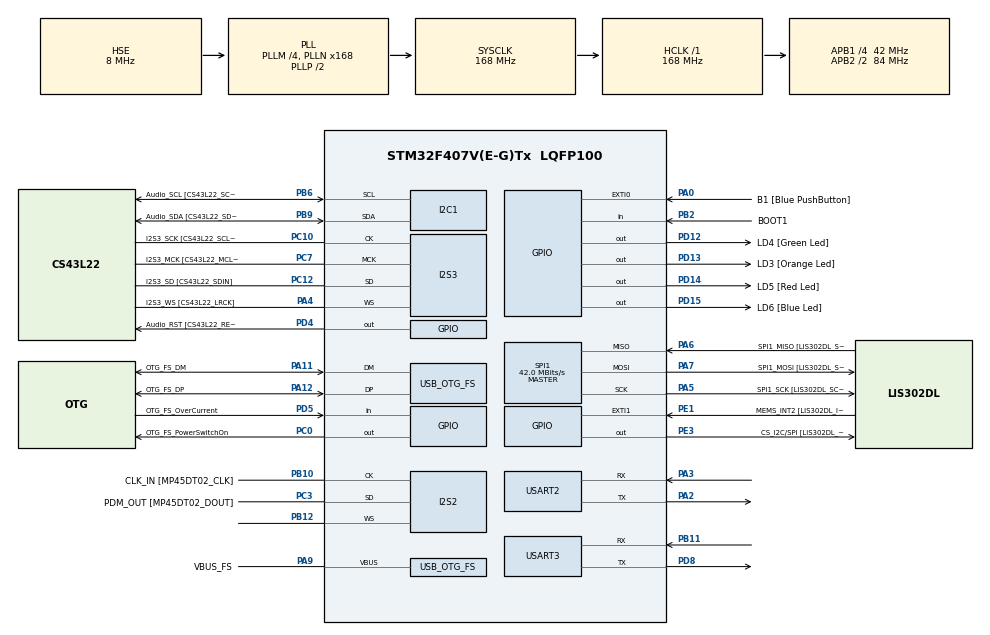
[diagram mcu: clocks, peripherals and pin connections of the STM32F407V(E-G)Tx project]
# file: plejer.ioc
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FREERTOS.Tasks01=defaultTask,0,128,StartDefaultTask,Default,NULL
I2S2.AudioFreq=I2S_AUDIOFREQ_44K
I2S2.ErrorAudioFreq=0.26 %
I2S2.FullDuplexMode=I2S_FULLDUPLEXMODE_DISABLE
I2S2.Instance=SPI$Index
I2S2.RealAudioFreq=44.117 KHz
I2S2.VirtualMode=I2S_MODE_MASTER
I2S3.AudioFreq=I2S_AUDIOFREQ_44K
I2S3.ErrorAudioFreq=0.26 %
I2S3.FullDuplexMode=I2S_FULLDUPLEXMODE_DISABLE
I2S3.Instance=SPI$Index
I2S3.RealAudioFreq=44.117 KHz
I2S3.VirtualMode=I2S_MODE_MASTER
Mcu.Family=STM32F4
Mcu.Name=STM32F407V(E-G)Tx
Mcu.Package=LQFP100
NVIC.OTG_FS_IRQn=true\:5\:0\:false\:false\:true\:true\:true
NVIC.PriorityGroup=NVIC_PRIORITYGROUP_4
NVIC.SPI2_IRQn=true\:5\:0\:false\:false\:true\:true\:true
NVIC.SPI3_IRQn=true\:5\:0\:false\:false\:true\:true\:true
NVIC.TIM1_TRG_COM_TIM11_IRQn=true\:0\:0\:false\:false\:true\:false\:true
NVIC.TimeBase=TIM1_TRG_COM_TIM11_IRQn
NVIC.TimeBaseIP=TIM11
PA0-WKUP.GPIO_Label=B1 [Blue PushButton]
PA0-WKUP.GPIO_ModeDefaultEXTI=GPIO_MODE_EVT_RISING
PA0-WKUP.GPIO_PuPd=GPIO_NOPULL
PA0-WKUP.Signal=GPXTI0
PA10.GPIO_Label=OTG_FS_ID
PA10.GPIO_Mode=GPIO_MODE_AF_PP
PA10.GPIO_PuPd=GPIO_NOPULL
PA10.GPIO_Speed=GPIO_SPEED_FREQ_LOW
PA10.Signal=USB_OTG_FS_ID
PA11.GPIO_Label=OTG_FS_DM
PA11.GPIO_Mode=GPIO_MODE_AF_PP
PA11.GPIO_PuPd=GPIO_NOPULL
PA11.GPIO_Speed=GPIO_SPEED_FREQ_LOW
PA11.Mode=Host_Only
PA11.Signal=USB_OTG_FS_DM
PA12.GPIO_Label=OTG_FS_DP
PA12.GPIO_Mode=GPIO_MODE_AF_PP
PA12.GPIO_PuPd=GPIO_NOPULL
PA12.GPIO_Speed=GPIO_SPEED_FREQ_LOW
PA12.Mode=Host_Only
PA12.Signal=USB_OTG_FS_DP
PA13.GPIO_Label=SWDIO
PA13.Mode=Serial_Wire
PA13.Signal=SYS_JTMS-SWDIO
PA14.GPIO_Label=SWCLK
PA14.Mode=Serial_Wire
PA14.Signal=SYS_JTCK-SWCLK
PA2.Mode=Asynchronous
PA2.Signal=USART2_TX
PA3.Mode=Asynchronous
PA3.Signal=USART2_RX
PA4.GPIO_Label=I2S3_WS [CS43L22_LRCK]
PA4.GPIO_Mode=GPIO_MODE_AF_PP
PA4.GPIO_PuPd=GPIO_NOPULL
PA4.GPIO_Speed=GPIO_SPEED_FREQ_LOW
PA4.Mode=Half_Duplex_Master
PA4.Signal=I2S3_WS
PA5.GPIO_Label=SPI1_SCK [LIS302DL_SCL/SPC]
PA5.GPIO_Mode=GPIO_MODE_AF_PP
PA5.GPIO_PuPd=GPIO_NOPULL
PA5.GPIO_Speed=GPIO_SPEED_FREQ_LOW
PA5.Mode=Full_Duplex_Master
PA5.Signal=SPI1_SCK
PA6.GPIO_Label=SPI1_MISO [LIS302DL_SDO]
PA6.GPIO_Mode=GPIO_MODE_AF_PP
PA6.GPIO_PuPd=GPIO_NOPULL
PA6.GPIO_Speed=GPIO_SPEED_FREQ_LOW
PA6.Mode=Full_Duplex_Master
PA6.Signal=SPI1_MISO
PA7.GPIO_Label=SPI1_MOSI [LIS302DL_SDA/SDI/SDO]
PA7.GPIO_Mode=GPIO_MODE_AF_PP
PA7.GPIO_PuPd=GPIO_NOPULL
PA7.GPIO_Speed=GPIO_SPEED_FREQ_LOW
PA7.Mode=Full_Duplex_Master
PA7.Signal=SPI1_MOSI
PA9.GPIO_Label=VBUS_FS
PA9.GPIO_Mode=GPIO_MODE_INPUT
PA9.GPIO_PuPd=GPIO_NOPULL
PA9.Mode=Activate_VBUS
PA9.Signal=USB_OTG_FS_VBUS
PB10.GPIO_Label=CLK_IN [MP45DT02_CLK]
PB10.GPIO_Mode=GPIO_MODE_AF_PP
PB10.GPIO_PuPd=GPIO_NOPULL
PB10.GPIO_Speed=GPIO_SPEED_FREQ_LOW
PB10.Mode=Half_Duplex_Master
PB10.Signal=I2S2_CK
PB11.Mode=Asynchronous
PB11.Signal=USART3_RX
PB12.Mode=Half_Duplex_Master
PB12.Signal=I2S2_WS
PB2.GPIO_Label=BOOT1
PB2.GPIO_Mode=GPIO_MODE_INPUT
PB2.GPIO_PuPd=GPIO_NOPULL
PB2.Signal=GPIO_Input
PB3.GPIO_Label=SWO
PB3.Signal=SYS_JTDO-SWO
PB6.GPIO_Label=Audio_SCL [CS43L22_SCL]
PB6.GPIO_Mode=GPIO_MODE_AF_OD
PB6.GPIO_PuPd=GPIO_NOPULL
PB6.GPIO_Speed=GPIO_SPEED_FREQ_LOW
PB6.Mode=I2C
PB6.Signal=I2C1_SCL
PB9.GPIO_Label=Audio_SDA [CS43L22_SDA]
PB9.GPIO_Mode=GPIO_MODE_AF_OD
PB9.GPIO_PuPd=GPIO_NOPULL
PB9.GPIO_Speed=GPIO_SPEED_FREQ_LOW
PB9.Mode=I2C
PB9.Signal=I2C1_SDA
PC0.GPIO_Label=OTG_FS_PowerSwitchOn
PC0.GPIO_PuPd=GPIO_NOPULL
PC0.GPIO_Speed=GPIO_SPEED_FREQ_LOW
PC0.PinState=GPIO_PIN_SET
PC0.Signal=GPIO_Output
PC10.GPIO_Label=I2S3_SCK [CS43L22_SCLK]
PC10.GPIO_Mode=GPIO_MODE_AF_PP
PC10.GPIO_PuPd=GPIO_NOPULL
PC10.GPIO_Speed=GPIO_SPEED_FREQ_LOW
PC10.Mode=Half_Duplex_Master
PC10.Signal=I2S3_CK
PC12.GPIO_Label=I2S3_SD [CS43L22_SDIN]
PC12.GPIO_Mode=GPIO_MODE_AF_PP
PC12.GPIO_PuPd=GPIO_NOPULL
PC12.GPIO_Speed=GPIO_SPEED_FREQ_LOW
PC12.Mode=Half_Duplex_Master
PC12.Signal=I2S3_SD
PC14-OSC32_IN.GPIO_Label=PC14-OSC32_IN
PC14-OSC32_IN.Signal=RCC_OSC32_IN
PC15-OSC32_OUT.GPIO_Label=PC15-OSC32_OUT
PC15-OSC32_OUT.Signal=RCC_OSC32_OUT
PC3.GPIO_Label=PDM_OUT [MP45DT02_DOUT]
PC3.GPIO_Mode=GPIO_MODE_AF_PP
PC3.GPIO_PuPd=GPIO_NOPULL
PC3.GPIO_Speed=GPIO_SPEED_FREQ_LOW
PC3.Mode=Half_Duplex_Master
PC3.Signal=I2S2_SD
PC7.GPIO_Label=I2S3_MCK [CS43L22_MCLK]
PC7.GPIO_Mode=GPIO_MODE_AF_PP
PC7.GPIO_PuPd=GPIO_NOPULL
PC7.GPIO_Speed=GPIO_SPEED_FREQ_LOW
PC7.Mode=Master_Clock_Activated
PC7.Signal=I2S3_MCK
PD12.GPIO_Label=LD4 [Green Led]
PD12.GPIO_PuPd=GPIO_NOPULL
PD12.GPIO_Speed=GPIO_SPEED_FREQ_LOW
PD12.Signal=GPIO_Output
PD13.GPIO_Label=LD3 [Orange Led]
PD13.GPIO_PuPd=GPIO_NOPULL
PD13.GPIO_Speed=GPIO_SPEED_FREQ_LOW
PD13.Signal=GPIO_Output
PD14.GPIO_Label=LD5 [Red Led]
PD14.GPIO_PuPd=GPIO_NOPULL
PD14.GPIO_Speed=GPIO_SPEED_FREQ_LOW
PD14.Signal=GPIO_Output
PD15.GPIO_Label=LD6 [Blue Led]
PD15.GPIO_PuPd=GPIO_NOPULL
PD15.GPIO_Speed=GPIO_SPEED_FREQ_LOW
PD15.Signal=GPIO_Output
PD4.GPIO_Label=Audio_RST [CS43L22_RESET]
PD4.GPIO_PuPd=GPIO_NOPULL
PD4.GPIO_Speed=GPIO_SPEED_FREQ_LOW
PD4.Signal=GPIO_Output
PD5.GPIO_Label=OTG_FS_OverCurrent
PD5.GPIO_Mode=GPIO_MODE_INPUT
PD5.GPIO_PuPd=GPIO_NOPULL
PD5.Signal=GPIO_Input
PD8.Mode=Asynchronous
PD8.Signal=USART3_TX
PE1.GPIO_Label=MEMS_INT2 [LIS302DL_INT2]
PE1.GPIO_ModeDefaultEXTI=GPIO_MODE_EVT_RISING
PE1.GPIO_PuPd=GPIO_NOPULL
PE1.Signal=GPXTI1
PE3.GPIO_Label=CS_I2C/SPI [LIS302DL_CS_I2C/SPI]
PE3.GPIO_PuPd=GPIO_NOPULL
PE3.GPIO_Speed=GPIO_SPEED_FREQ_LOW
PE3.Signal=GPIO_Output
PH0-OSC_IN.GPIO_Label=PH0-OSC_IN
PH0-OSC_IN.Mode=HSE-External-Oscillator
PH0-OSC_IN.Signal=RCC_OSC_IN
PH1-OSC_OUT.GPIO_Label=PH1-OSC_OUT
PH1-OSC_OUT.Mode=HSE-External-Oscillator
PH1-OSC_OUT.Signal=RCC_OSC_OUT
ProjectManager.HeapSize=0x200
ProjectManager.StackSize=0x400
ProjectManager.TargetToolchain=Makefile
RCC.48MHZClocksFreq_Value=48000000
RCC.AHBFreq_Value=168000000
RCC.APB1CLKDivider=RCC_HCLK_DIV4
RCC.APB1Freq_Value=42000000
RCC.APB1TimFreq_Value=84000000
RCC.APB2CLKDivider=RCC_HCLK_DIV2
RCC.APB2Freq_Value=84000000
RCC.APB2TimFreq_Value=168000000
RCC.CortexFreq_Value=168000000
RCC.HCLKFreq_Value=168000000
RCC.HSE_VALUE=8000000
RCC.HSI_VALUE=16000000
RCC.LSE_VALUE=32768
RCC.PLLM=4
RCC.PLLN=168
RCC.PLLQ=7
RCC.SYSCLKFreq_VALUE=168000000
RCC.SYSCLKSource=RCC_SYSCLKSOURCE_PLLCLK
RCC.VCOOutputFreq_Value=336000000
SPI1.CalculateBaudRate=42.0 MBits/s
SPI1.Direction=SPI_DIRECTION_2LINES
SPI1.Mode=SPI_MODE_MASTER
SPI1.VirtualType=VM_MASTER
USART2.VirtualMode=VM_ASYNC
USART3.VirtualMode=VM_ASYNC
USB_HOST.USBH_HandleTypeDef-MSC_FS=hUsbHostFS
USB_HOST.VirtualModeFS=Msc
USB_OTG_FS.VirtualMode=Host_Only
USB_OTG_FS.phy_itface=HCD_PHY_EMBEDDED
VP_FATFS_VS_USB.Mode=USB
VP_FREERTOS_VS_ENABLE.Mode=Enabled
VP_RNG_VS_RNG.Mode=RNG_Activate
VP_SYS_VS_tim11.Mode=TIM11
VP_USB_HOST_VS_USB_HOST_MSC_FS.Mode=MSC_FS
board=STM32F4DISCOVERY

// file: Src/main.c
/**
  ******************************************************************************
  * File Name          : main.c
  * Description        : Main program body
  ******************************************************************************
  * This notice applies to any and all portions of this file
  * that are not between comment pairs USER CODE BEGIN and
  * USER CODE END. Other portions of this file, whether
  * inserted by the user or by software development tools
  * are owned by their respective copyright owners.
  *
  * Copyright (c) 2017 STMicroelectronics International N.V.
  * All rights reserved.
  *
  * Redistribution and use in source and binary forms, with or without
  * modification, are permitted, provided that the following conditions are met:
  *
  * 1. Redistribution of source code must retain the above copyright notice,
  *    this list of conditions and the following disclaimer.
  * 2. Redistributions in binary form must reproduce the above copyright notice,
  *    this list of conditions and the following disclaimer in the documentation
  *    and/or other materials provided with the distribution.
  * 3. Neither the name of STMicroelectronics nor the names of other
  *    contributors to this software may be used to endorse or promote products
  *    derived from this software without specific written permission.
  * 4. This software, including modifications and/or derivative works of this
  *    software, must execute solely and exclusively on microcontroller or
  *    microprocessor devices manufactured by or for STMicroelectronics.
  * 5. Redistribution and use of this software other than as permitted under
  *    this license is void and will automatically terminate your rights under
  *    this license.
  *
  * THIS SOFTWARE IS PROVIDED BY STMICROELECTRONICS AND CONTRIBUTORS "AS IS"
  * AND ANY EXPRESS, IMPLIED OR STATUTORY WARRANTIES, INCLUDING, BUT NOT
  * LIMITED TO, THE IMPLIED WARRANTIES OF MERCHANTABILITY, FITNESS FOR A
  * PARTICULAR PURPOSE AND NON-INFRINGEMENT OF THIRD PARTY INTELLECTUAL PROPERTY
  * RIGHTS ARE DISCLAIMED TO THE FULLEST EXTENT PERMITTED BY LAW. IN NO EVENT
  * SHALL STMICROELECTRONICS OR CONTRIBUTORS BE LIABLE FOR ANY DIRECT, INDIRECT,
  * INCIDENTAL, SPECIAL, EXEMPLARY, OR CONSEQUENTIAL DAMAGES (INCLUDING, BUT NOT
  * LIMITED TO, PROCUREMENT OF SUBSTITUTE GOODS OR SERVICES; LOSS OF USE, DATA,
  * OR PROFITS; OR BUSINESS INTERRUPTION) HOWEVER CAUSED AND ON ANY THEORY OF
  * LIABILITY, WHETHER IN CONTRACT, STRICT LIABILITY, OR TORT (INCLUDING
  * NEGLIGENCE OR OTHERWISE) ARISING IN ANY WAY OUT OF THE USE OF THIS SOFTWARE,
  * EVEN IF ADVISED OF THE POSSIBILITY OF SUCH DAMAGE.
  *
  ******************************************************************************
  */

#include "main.h"
#include "stm32f4xx_hal.h"
#include "cmsis_os.h"
#include "fatfs.h"
#include "usb_host.h"
#include "stm32f4_discovery_audio.h"
#include "mp3dec.h"

I2C_HandleTypeDef hi2c1;

I2S_HandleTypeDef hi2s2;
I2S_HandleTypeDef hi2s3;

RNG_HandleTypeDef hrng;

SPI_HandleTypeDef hspi1;

UART_HandleTypeDef huart2;
UART_HandleTypeDef huart3;

osThreadId defaultTaskHandle;

/* USER CODE BEGIN PV */
/* Private variables ---------------------------------------------------------*/

/* USER CODE END PV */

void SystemClock_Config(void);
static void MX_GPIO_Init(void);
static void MX_USART2_UART_Init(void);
static void MX_USART3_UART_Init(void);
static void MX_SPI1_Init(void);
static void MX_RNG_Init(void);
static void MX_I2C1_Init(void);
static void MX_I2S2_Init(void);
static void MX_I2S3_Init(void);
void StartDefaultTask(void const * argument);
extern ApplicationTypeDef Appli_state;
static void print_chr(char chr);
static FATFS fs;
const int FILE_READ_BUFFER_SIZE = 8192;
int buffer_offset = 0;
const char Audio_Buffer[8192];
WAVE_FormatTypeDef waveformat;
static uint32_t WaveLength;
static uint32_t AudioRemSize = 0;
HMP3Decoder hMP3Decoder;
static const char *read_ptr;

/* USER CODE BEGIN PFP */
/* Private function prototypes -----------------------------------------------*/

/* USER CODE END PFP */

int main(void)
{

  /* MCU Configuration----------------------------------------------------------*/

  /* Reset of all peripherals, Initializes the Flash interface and the Systick. */
  HAL_Init();

  /* Configure the system clock */
  SystemClock_Config();

  /* Initialize all configured peripherals */
  MX_GPIO_Init();
  MX_USART2_UART_Init();
  MX_USART3_UART_Init();
  MX_SPI1_Init();
  MX_RNG_Init();
  MX_I2C1_Init();
  MX_I2S2_Init();
  MX_I2S3_Init();

  /* Create the thread(s) */
  /* definition and creation of defaultTask */
  osThreadDef(defaultTask, StartDefaultTask, osPriorityNormal, 0, 1024);
  defaultTaskHandle = osThreadCreate(osThread(defaultTask), NULL);

  /* Start scheduler */
  osKernelStart();

  /* We should never get here as control is now taken by the scheduler */

  /* Infinite loop */
  while (1)
  {

  }

}

/** System Clock Configuration
*/
void SystemClock_Config(void)
{

  RCC_OscInitTypeDef RCC_OscInitStruct;
  RCC_ClkInitTypeDef RCC_ClkInitStruct;
  RCC_PeriphCLKInitTypeDef PeriphClkInitStruct;

    /**Configure the main internal regulator output voltage
    */
  __HAL_RCC_PWR_CLK_ENABLE();

  __HAL_PWR_VOLTAGESCALING_CONFIG(PWR_REGULATOR_VOLTAGE_SCALE1);

    /**Initializes the CPU, AHB and APB busses clocks
    */
  RCC_OscInitStruct.OscillatorType = RCC_OSCILLATORTYPE_HSE;
  RCC_OscInitStruct.HSEState = RCC_HSE_ON;
  RCC_OscInitStruct.PLL.PLLState = RCC_PLL_ON;
  RCC_OscInitStruct.PLL.PLLSource = RCC_PLLSOURCE_HSE;
  RCC_OscInitStruct.PLL.PLLM = 4;
  RCC_OscInitStruct.PLL.PLLN = 168;
  RCC_OscInitStruct.PLL.PLLP = RCC_PLLP_DIV2;
  RCC_OscInitStruct.PLL.PLLQ = 7;
  if (HAL_RCC_OscConfig(&RCC_OscInitStruct) != HAL_OK)
  {
    _Error_Handler(__FILE__, __LINE__);
  }

    /**Initializes the CPU, AHB and APB busses clocks
    */
  RCC_ClkInitStruct.ClockType = RCC_CLOCKTYPE_HCLK|RCC_CLOCKTYPE_SYSCLK
                              |RCC_CLOCKTYPE_PCLK1|RCC_CLOCKTYPE_PCLK2;
  RCC_ClkInitStruct.SYSCLKSource = RCC_SYSCLKSOURCE_PLLCLK;
  RCC_ClkInitStruct.AHBCLKDivider = RCC_SYSCLK_DIV1;
  RCC_ClkInitStruct.APB1CLKDivider = RCC_HCLK_DIV4;
  RCC_ClkInitStruct.APB2CLKDivider = RCC_HCLK_DIV2;

  if (HAL_RCC_ClockConfig(&RCC_ClkInitStruct, FLASH_LATENCY_5) != HAL_OK)
  {
    _Error_Handler(__FILE__, __LINE__);
  }

  PeriphClkInitStruct.PeriphClockSelection = RCC_PERIPHCLK_I2S;
  PeriphClkInitStruct.PLLI2S.PLLI2SN = 192;
  PeriphClkInitStruct.PLLI2S.PLLI2SR = 2;
  if (HAL_RCCEx_PeriphCLKConfig(&PeriphClkInitStruct) != HAL_OK)
  {
    _Error_Handler(__FILE__, __LINE__);
  }

    /**Configure the Systick interrupt time
    */
  HAL_SYSTICK_Config(HAL_RCC_GetHCLKFreq()/1000);

    /**Configure the Systick
    */
  HAL_SYSTICK_CLKSourceConfig(SYSTICK_CLKSOURCE_HCLK);

  /* SysTick_IRQn interrupt configuration */
  HAL_NVIC_SetPriority(SysTick_IRQn, 15, 0);
}

/* I2C1 init function */
static void MX_I2C1_Init(void)
{

  hi2c1.Instance = I2C1;
  hi2c1.Init.ClockSpeed = 100000;
  hi2c1.Init.DutyCycle = I2C_DUTYCYCLE_2;
  hi2c1.Init.OwnAddress1 = 0;
  hi2c1.Init.AddressingMode = I2C_ADDRESSINGMODE_7BIT;
  hi2c1.Init.DualAddressMode = I2C_DUALADDRESS_DISABLE;
  hi2c1.Init.OwnAddress2 = 0;
  hi2c1.Init.GeneralCallMode = I2C_GENERALCALL_DISABLE;
  hi2c1.Init.NoStretchMode = I2C_NOSTRETCH_DISABLE;
  if (HAL_I2C_Init(&hi2c1) != HAL_OK)
  {
    _Error_Handler(__FILE__, __LINE__);
  }

}

/* I2S2 init function */
static void MX_I2S2_Init(void)
{

  hi2s2.Instance = SPI2;
  hi2s2.Init.Mode = I2S_MODE_MASTER_TX;
  hi2s2.Init.Standard = I2S_STANDARD_PHILIPS;
  hi2s2.Init.DataFormat = I2S_DATAFORMAT_16B;
  hi2s2.Init.MCLKOutput = I2S_MCLKOUTPUT_DISABLE;
  hi2s2.Init.AudioFreq = I2S_AUDIOFREQ_44K;
  hi2s2.Init.CPOL = I2S_CPOL_LOW;
  hi2s2.Init.ClockSource = I2S_CLOCK_PLL;
  hi2s2.Init.FullDuplexMode = I2S_FULLDUPLEXMODE_DISABLE;
  if (HAL_I2S_Init(&hi2s2) != HAL_OK)
  {
    _Error_Handler(__FILE__, __LINE__);
  }

}

/* I2S3 init function */
static void MX_I2S3_Init(void)
{

  hi2s3.Instance = SPI3;
  hi2s3.Init.Mode = I2S_MODE_MASTER_TX;
  hi2s3.Init.Standard = I2S_STANDARD_PHILIPS;
  hi2s3.Init.DataFormat = I2S_DATAFORMAT_16B;
  hi2s3.Init.MCLKOutput = I2S_MCLKOUTPUT_ENABLE;
  hi2s3.Init.AudioFreq = I2S_AUDIOFREQ_44K;
  hi2s3.Init.CPOL = I2S_CPOL_LOW;
  hi2s3.Init.ClockSource = I2S_CLOCK_PLL;
  hi2s3.Init.FullDuplexMode = I2S_FULLDUPLEXMODE_DISABLE;
  if (HAL_I2S_Init(&hi2s3) != HAL_OK)
  {
    _Error_Handler(__FILE__, __LINE__);
  }

}

/* RNG init function */
static void MX_RNG_Init(void)
{

  hrng.Instance = RNG;
  if (HAL_RNG_Init(&hrng) != HAL_OK)
  {
    _Error_Handler(__FILE__, __LINE__);
  }

}

/* SPI1 init function */
static void MX_SPI1_Init(void)
{

  /* SPI1 parameter configuration*/
  hspi1.Instance = SPI1;
  hspi1.Init.Mode = SPI_MODE_MASTER;
  hspi1.Init.Direction = SPI_DIRECTION_2LINES;
  hspi1.Init.DataSize = SPI_DATASIZE_8BIT;
  hspi1.Init.CLKPolarity = SPI_POLARITY_LOW;
  hspi1.Init.CLKPhase = SPI_PHASE_1EDGE;
  hspi1.Init.NSS = SPI_NSS_SOFT;
  hspi1.Init.BaudRatePrescaler = SPI_BAUDRATEPRESCALER_2;
  hspi1.Init.FirstBit = SPI_FIRSTBIT_MSB;
  hspi1.Init.TIMode = SPI_TIMODE_DISABLE;
  hspi1.Init.CRCCalculation = SPI_CRCCALCULATION_DISABLE;
  hspi1.Init.CRCPolynomial = 10;
  if (HAL_SPI_Init(&hspi1) != HAL_OK)
  {
    _Error_Handler(__FILE__, __LINE__);
  }

}

/* USART2 init function */
static void MX_USART2_UART_Init(void)
{

  huart2.Instance = USART2;
  huart2.Init.BaudRate = 115200;
  huart2.Init.WordLength = UART_WORDLENGTH_8B;
  huart2.Init.StopBits = UART_STOPBITS_1;
  huart2.Init.Parity = UART_PARITY_NONE;
  huart2.Init.Mode = UART_MODE_TX_RX;
  huart2.Init.HwFlowCtl = UART_HWCONTROL_NONE;
  huart2.Init.OverSampling = UART_OVERSAMPLING_16;
  if (HAL_UART_Init(&huart2) != HAL_OK)
  {
    _Error_Handler(__FILE__, __LINE__);
  }

}

/* USART3 init function */
static void MX_USART3_UART_Init(void)
{

  huart3.Instance = USART3;
  huart3.Init.BaudRate = 115200;
  huart3.Init.WordLength = UART_WORDLENGTH_8B;
  huart3.Init.StopBits = UART_STOPBITS_1;
  huart3.Init.Parity = UART_PARITY_NONE;
  huart3.Init.Mode = UART_MODE_TX_RX;
  huart3.Init.HwFlowCtl = UART_HWCONTROL_NONE;
  huart3.Init.OverSampling = UART_OVERSAMPLING_16;
  if (HAL_UART_Init(&huart3) != HAL_OK)
  {
    _Error_Handler(__FILE__, __LINE__);
  }

}

/** Configure pins as
        * Analog
        * Input
        * Output
        * EVENT_OUT
        * EXTI
*/
static void MX_GPIO_Init(void)
{

  GPIO_InitTypeDef GPIO_InitStruct;

  /* GPIO Ports Clock Enable */
  __HAL_RCC_GPIOE_CLK_ENABLE();
  __HAL_RCC_GPIOC_CLK_ENABLE();
  __HAL_RCC_GPIOH_CLK_ENABLE();
  __HAL_RCC_GPIOA_CLK_ENABLE();
  __HAL_RCC_GPIOB_CLK_ENABLE();
  __HAL_RCC_GPIOD_CLK_ENABLE();

  /*Configure GPIO pin Output Level */
  HAL_GPIO_WritePin(CS_I2C_SPI_GPIO_Port, CS_I2C_SPI_Pin, GPIO_PIN_RESET);

  /*Configure GPIO pin Output Level */
  HAL_GPIO_WritePin(OTG_FS_PowerSwitchOn_GPIO_Port, OTG_FS_PowerSwitchOn_Pin, GPIO_PIN_RESET);

  /*Configure GPIO pin Output Level */
  HAL_GPIO_WritePin(GPIOD, LD4_Pin|LD3_Pin|LD5_Pin|LD6_Pin
                          |Audio_RST_Pin, GPIO_PIN_RESET);

  /*Configure GPIO pin : CS_I2C_SPI_Pin */
  GPIO_InitStruct.Pin = CS_I2C_SPI_Pin;
  GPIO_InitStruct.Mode = GPIO_MODE_OUTPUT_PP;
  GPIO_InitStruct.Pull = GPIO_NOPULL;
  GPIO_InitStruct.Speed = GPIO_SPEED_FREQ_LOW;
  HAL_GPIO_Init(CS_I2C_SPI_GPIO_Port, &GPIO_InitStruct);

  /*Configure GPIO pin : OTG_FS_PowerSwitchOn_Pin */
  GPIO_InitStruct.Pin = OTG_FS_PowerSwitchOn_Pin;
  GPIO_InitStruct.Mode = GPIO_MODE_OUTPUT_PP;
  GPIO_InitStruct.Pull = GPIO_NOPULL;
  GPIO_InitStruct.Speed = GPIO_SPEED_FREQ_LOW;
  HAL_GPIO_Init(OTG_FS_PowerSwitchOn_GPIO_Port, &GPIO_InitStruct);

  /*Configure GPIO pin : B1_Pin */
  GPIO_InitStruct.Pin = B1_Pin;
  GPIO_InitStruct.Mode = GPIO_MODE_EVT_RISING;
  GPIO_InitStruct.Pull = GPIO_NOPULL;
  HAL_GPIO_Init(B1_GPIO_Port, &GPIO_InitStruct);

  /*Configure GPIO pin : BOOT1_Pin */
  GPIO_InitStruct.Pin = BOOT1_Pin;
  GPIO_InitStruct.Mode = GPIO_MODE_INPUT;
  GPIO_InitStruct.Pull = GPIO_NOPULL;
  HAL_GPIO_Init(BOOT1_GPIO_Port, &GPIO_InitStruct);

  /*Configure GPIO pins : LD4_Pin LD3_Pin LD5_Pin LD6_Pin
                           Audio_RST_Pin */
  GPIO_InitStruct.Pin = LD4_Pin|LD3_Pin|LD5_Pin|LD6_Pin
                          |Audio_RST_Pin;
  GPIO_InitStruct.Mode = GPIO_MODE_OUTPUT_PP;
  GPIO_InitStruct.Pull = GPIO_NOPULL;
  GPIO_InitStruct.Speed = GPIO_SPEED_FREQ_LOW;
  HAL_GPIO_Init(GPIOD, &GPIO_InitStruct);

  /*Configure GPIO pin : OTG_FS_OverCurrent_Pin */
  GPIO_InitStruct.Pin = OTG_FS_OverCurrent_Pin;
  GPIO_InitStruct.Mode = GPIO_MODE_INPUT;
  GPIO_InitStruct.Pull = GPIO_NOPULL;
  HAL_GPIO_Init(OTG_FS_OverCurrent_GPIO_Port, &GPIO_InitStruct);

  /*Configure GPIO pin : MEMS_INT2_Pin */
  GPIO_InitStruct.Pin = MEMS_INT2_Pin;
  GPIO_InitStruct.Mode = GPIO_MODE_EVT_RISING;
  GPIO_InitStruct.Pull = GPIO_NOPULL;
  HAL_GPIO_Init(MEMS_INT2_GPIO_Port, &GPIO_InitStruct);

}

/* USER CODE BEGIN 4 */
static void print_chr(char chr)
{
    HAL_UART_Transmit(&huart2,
    (uint8_t*)&chr, 1, 1000);
}

ssize_t _write_r(struct _reent *r, int fd, const void *ptr, size_t len)
{
    int cntr = len;
    char *pTemp = (char*)ptr;
    while(cntr--)
        print_chr(*pTemp++);
    return len;
}
/* USER CODE END 4 */

/* StartDefaultTask function */
void StartDefaultTask(void const * argument)
{

  /* init code for USB_HOST */
  MX_USB_HOST_Init();
  osDelay(1000);

  /* init code for FATFS */
  MX_FATFS_Init();

  while(Appli_state != APPLICATION_READY)
  {
		  osDelay(1);
  }

   f_mount(&fs, "", 1);

   /* init mp3 decoder */
    hMP3Decoder = MP3InitDecoder();

  /* USER CODE BEGIN 5 */
  	printf("Application ready!\n");

  	printf("init done\n");

    FIL FileRead;
	UINT bytesread = 0;
	char* filename = "test.wav";
	int offset, err;
	int outOfData = 0;

	FRESULT f1 = f_open(&FileRead, filename , FA_READ);

	printf("%d\n", f1);
	if(f1 == FR_OK)
	{
		f_read (&FileRead, &waveformat, sizeof(waveformat), &bytesread);

		WaveLength = waveformat.FileSize;
	  	BSP_AUDIO_OUT_Init(OUTPUT_DEVICE_AUTO, 70,waveformat.SampleRate);

	  	 f_lseek(&FileRead, 0);
	  	 f_read (&FileRead, &Audio_Buffer[0], FILE_READ_BUFFER_SIZE, &bytesread);
	  	 AudioRemSize = WaveLength - bytesread;

	  	 //short *outbuf;

	  	 printf("file read\n");

	  	 //read_ptr = Audio_Buffer;

		 //err = MP3Decode(hMP3Decoder, (unsigned char**)&read_ptr , &AudioRemSize, outbuf, 0);
		 printf("%d", err);

		//printf("file decoded\n");
		BSP_AUDIO_OUT_Play((uint16_t*)&Audio_Buffer[0], FILE_READ_BUFFER_SIZE);
		//BSP_AUDIO_OUT_Play((uint16_t*)&outbuf,  FILE_READ_BUFFER_SIZE);
		printf("file play \n");

			while(AudioRemSize != 0)
			{
				bytesread = 0;
				//half of the buffer already played
				if(buffer_offset == 1)
				{

					f_read (&FileRead, &Audio_Buffer[0], FILE_READ_BUFFER_SIZE/2, &bytesread);
					buffer_offset = 0;
				}
				else if(buffer_offset == 2)
				{

					f_read (&FileRead, &Audio_Buffer[FILE_READ_BUFFER_SIZE/2], FILE_READ_BUFFER_SIZE/2, &bytesread);
					buffer_offset = 0;
				}

			 if(AudioRemSize > (FILE_READ_BUFFER_SIZE / 2))
					AudioRemSize -= bytesread;

			else
				AudioRemSize = 0;
		}
	printf("End of file\n");
	BSP_AUDIO_OUT_Stop(CODEC_PDWN_HW);
	AudioRemSize = 0;
	f_close(&FileRead);
	}

  /* Infinite loop */
  for(;;)
  {
    osDelay(1);
  }

  /* USER CODE END 5 */
}

//Z WAVEPLAYER
void BSP_AUDIO_OUT_HalfTransfer_CallBack(void)
{
  buffer_offset = 1;
}

/**
* @brief  Calculates the remaining file size and new position of the pointer.
* @param  None
* @retval None
*/
void BSP_AUDIO_OUT_TransferComplete_CallBack(void)
{
  buffer_offset = 2;
  BSP_AUDIO_OUT_ChangeBuffer((uint16_t*)&Audio_Buffer[0], FILE_READ_BUFFER_SIZE / 2);
}

void HAL_TIM_PeriodElapsedCallback(TIM_HandleTypeDef *htim)
{
  if (htim->Instance == TIM11) {
    HAL_IncTick();
  }
}

void _Error_Handler(char * file, int line)
{
  while(1)
  {
  }
}

/************************ (C) COPYRIGHT STMicroelectronics *****END OF FILE****/
